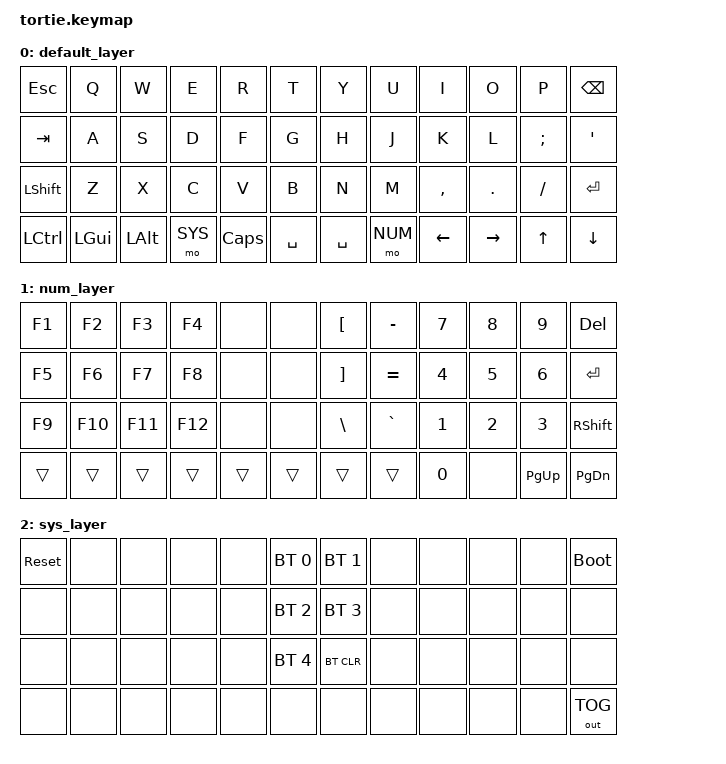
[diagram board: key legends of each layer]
#include <behaviors.dtsi>
#include <dt-bindings/zmk/keys.h>
#include <dt-bindings/zmk/bt.h>
#include <dt-bindings/zmk/outputs.h>

#define DEFAULT  0
#define NUM      1
#define SYS      2

/ {
    keymap {
        compatible = "zmk,keymap";

        default_layer {
// ---------------------------------------------------------------------------------------------------------------------------------
// |   ESC    |    Q     |    W     |    E    |    R    |     T    |     Y    |    U    |    I    |     O    |     P    |    BSPC  |
// |   TAB    |    A     |    S     |    D    |    F    |     G    |     H    |    J    |    K    |     L    |     ;    |     '    |
// |  SHIFT   |    Z     |    X     |    C    |    V    |     B    |     N    |    M    |    ,    |     .    |     /    |   R CTRL |
// |  LCTRL   |  LGUI    |   LALT   |   LAY2  |   CAPS  |   SPACE  |   SPACE  |   LAY1  |  LEFT   |   RIGHT  |     UP   |   DOWN   |
  
            bindings = <
    &kp ESC     &kp Q     &kp W      &kp E       &kp R       &kp T      &kp Y      &kp U     &kp I      &kp O      &kp P     &kp BSPC
    &kp TAB     &kp A     &kp S      &kp D       &kp F       &kp G      &kp H      &kp J     &kp K      &kp L      &kp SEMI  &kp SQT
    &kp LSHFT   &kp Z     &kp X      &kp C       &kp V       &kp B      &kp N      &kp M     &kp COMMA  &kp DOT    &kp FSLH  &kp ENTER
    &kp LCTRL   &kp LGUI  &kp LALT   &mo SYS     &kp CAPS    &kp SPACE  &kp SPACE  &mo NUM   &kp LEFT   &kp RIGHT  &kp UP    &kp DOWN
            >;
        };

        num_layer {
            bindings = <
    &kp F1      &kp F2    &kp F3    &kp F4      &none      &none      &kp LBKT   &kp MINUS   &kp N7    &kp N8    &kp N9     &kp DEL
    &kp F5      &kp F6    &kp F7    &kp F8      &none      &none      &kp RBKT   &kp EQUAL   &kp N4    &kp N5    &kp N6     &kp RET
    &kp F9      &kp F10   &kp F11   &kp F12     &none      &none      &kp BSLH   &kp GRAVE   &kp N1    &kp N2    &kp N3     &kp RSHFT
    &trans      &trans    &trans    &trans      &trans      &trans      &trans     &trans      &kp N0    &none     &kp PG_UP  &kp PG_DN
            >;
        };

        sys_layer {
            bindings = <
    &sys_reset  &none     &none     &none       &none      &bt BT_SEL 0  &bt BT_SEL 1   &none    &none    &none      &none     &bootloader
    &none       &none     &none     &none       &none      &bt BT_SEL 2  &bt BT_SEL 3   &none    &none    &none      &none     &none
    &none       &none     &none     &none       &none      &bt BT_SEL 4  &bt BT_CLR     &none    &none    &none      &none     &none
    &none       &none     &none     &none       &none      &none         &none          &none    &none    &none      &none     &out OUT_TOG
            >;
        };
    };
};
